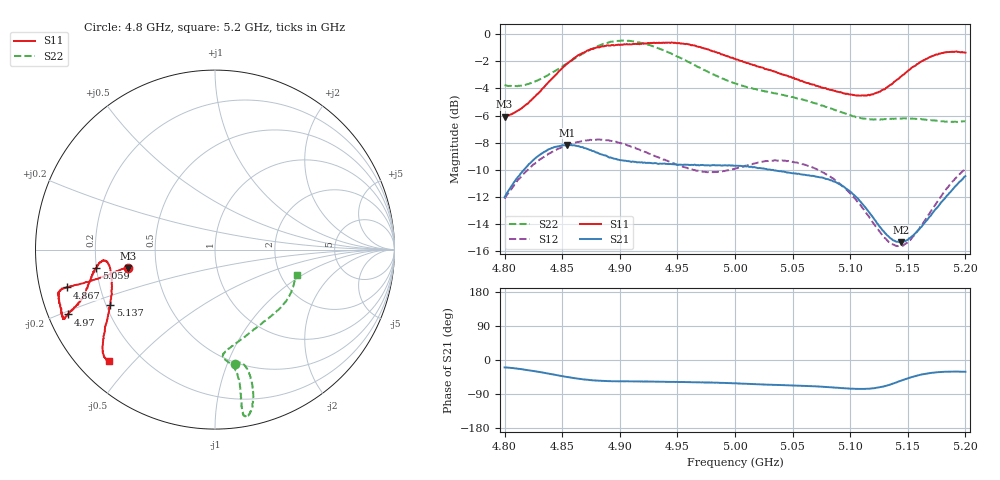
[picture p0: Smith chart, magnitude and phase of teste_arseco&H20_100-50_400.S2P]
! Network Analyzer HP8722D
! Hewlett-Packard
! Data name: Linha & Wilkinson
! Saver's name: Rodrigo Anjos
! Comments: Teste da utilização de aquisição
! continua pelo VNA HP8722D
! Time and date: 6/5/2025 15:54
!  Frequency  S11  S21  S12  S22
# HZ  S  MA R 50
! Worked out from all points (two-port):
!   401 points, 4.8 GHz to 5.2 GHz, reference 50 ohm
!   highest |S21| = -8.17 dB at 4.854 GHz (marker M1); lowest = -15.3 dB at 5.144 GHz (marker M2)
!   |S21| within 3 dB of the highest: 4.806 GHz to 5.093 GHz (286.6 MHz wide, 5.79 % of centre); 5.191761 GHz to end of sweep
!   lowest |S11| = -6.1 dB at 4.8 GHz (marker M3), VSWR 2.97, Z = 17 - j4.6 ohm
!   |S11| at or under -10 dB: nowhere
!   |S22| runs from -6.5 to -0.5 dB; largest |S21 - S12| = 0.62
!   S11 on the Smith chart (normalised r, x): 4.8 GHz: 0.34, -0.09; 4.867 GHz: 0.08, -0.13; 4.97 GHz: 0.06, -0.21; 5.059 GHz: 0.20, -0.07; 5.137 GHz: 0.22, -0.24; 5.2 GHz: 0.09, -0.43
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4.8e9  0.4961 -168.1  0.2509 -19.5  0.2477 -140.7  0.6483 -80.4
4.827e9  0.5923 -167.0  0.3499 -29.9  0.3359 -144.4  0.6706 -75.4
4.854e9  0.7762 -165.7  0.3905 -44.8  0.3893 -149.6  0.7778 -74.6
4.867e9  0.8488 -165.6  0.3835 -50.6  0.4033 -151.8  0.8428 -75.3
4.885e9  0.9021 -164.9  0.3595 -55.1  0.4082 -154.8  0.9175 -77.3
4.901e9  0.9137 -162.2  0.3434 -56.2  0.3961 -156.5  0.9467 -79.1
4.934e9  0.9293 -156.3  0.3327 -57.4  0.3511 -155.5  0.8847 -80.4
4.953e9  0.9222 -155.3  0.3305 -58.0  0.3259 -151.9  0.8155 -79.8
4.97e9  0.895 -156.2  0.3296 -59.0  0.3126 -146.9  0.7487 -79.6
5e9  0.8112 -158.9  0.3275 -61.7  0.3199 -137.1  0.6581 -81.2
5.035e9  0.7258 -165.2  0.3149 -65.7  0.3432 -134.2  0.6051 -85.6
5.059e9  0.6685 -171.3  0.3037 -68.1  0.3316 -135.9  0.5733 -84.3
5.067e9  0.6517 -173.1  0.3007 -68.9  0.3233 -136.5  0.5606 -82.7
5.083e9  0.6224 -174.4  0.2894 -72.0  0.2978 -138.0  0.532 -76.7
5.103e9  0.5959 -171.5  0.2563 -75.9  0.2509 -138.6  0.498 -65.2
5.117e9  0.5948 -164.8  0.219 -75.6  0.2102 -135.0  0.4853 -55.2
5.134e9  0.6457 -154.2  0.1785 -65.6  0.1707 -120.8  0.4874 -43.4
5.137e9  0.6582 -152.2  0.1743 -62.4  0.1681 -117.1  0.4879 -41.6
5.144e9  0.6975 -148.6  0.1711 -54.7  0.1658 -107.6  0.4883 -37.5
5.154e9  0.7554 -144.2  0.1805 -44.6  0.1787 -95.2  0.4885 -32.2
5.173e9  0.8345 -138.7  0.2231 -33.2  0.2322 -80.7  0.4806 -24.2
5.2e9  0.8539 -133.5  0.2998 -31.1  0.3186 -76.7  0.4772 -17.5
